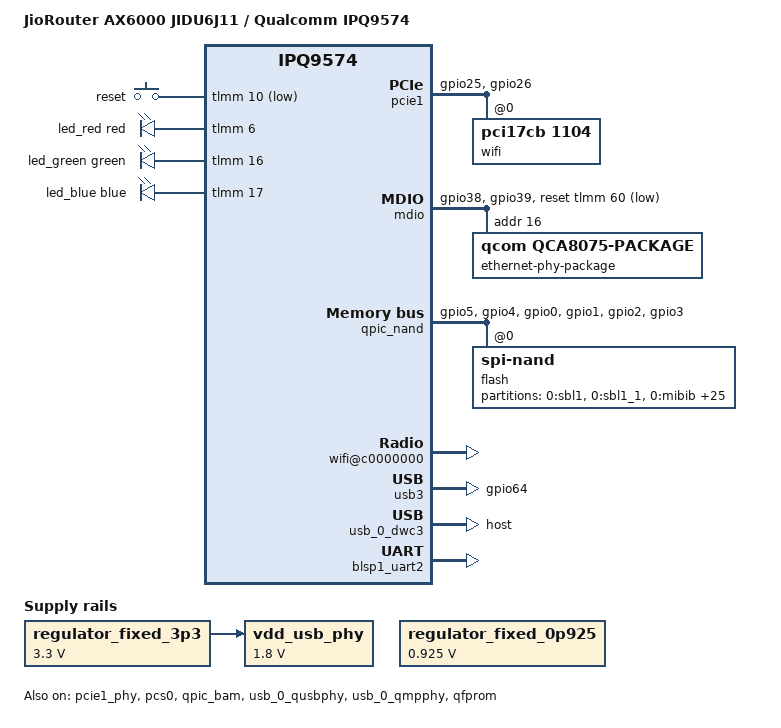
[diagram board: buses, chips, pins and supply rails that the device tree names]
// SPDX-License-Identifier: (GPL-2.0+ OR BSD-3-Clause)
/*
 * Jio AirFiber (JIDU6J11) - IPQ9574 AP-AL02-C1
 *
  */

/dts-v1/;

#include <dt-bindings/gpio/gpio.h>
#include <dt-bindings/input/input.h>
#include <dt-bindings/leds/common.h>
#include "ipq9574.dtsi"

#include <dt-bindings/clock/qcom,qca8k-nsscc.h>
#include <dt-bindings/net/qcom,qca808x.h>
#include <dt-bindings/reset/qcom,qca8k-nsscc.h>

/ {
	model = "JioRouter AX6000 JIDU6J11 / Qualcomm IPQ9574";
	compatible = "jiorouter,ax6000-jidu6j11", "qcom,ipq9574";

	aliases {
		serial0 = &blsp1_uart2;
		pci0 = &pcie0;
		pci1 = &pcie1;
		pci2 = &pcie2;
		pci3 = &pcie3;
	};

	chosen {
		stdout-path = "serial0:115200n8";
	};

	ipq9574_s4: s4 {
		regulator-min-microvolt = <1>;
		regulator-max-microvolt = <9>;
		regulator-always-on;
	};

	regulator_fixed_3p3: s3300 {
		compatible = "regulator-fixed";
		regulator-min-microvolt = <3300000>;
		regulator-max-microvolt = <3300000>;
		regulator-boot-on;
		regulator-always-on;
		regulator-name = "fixed_3p3";
	};

	regulator_fixed_0p925: s0925 {
		compatible = "regulator-fixed";
		regulator-min-microvolt = <925000>;
		regulator-max-microvolt = <925000>;
		regulator-boot-on;
		regulator-always-on;
		regulator-name = "fixed_0p925";
	};

	/*TODO: Remove*/
	vdd_usb_phy: vdd-usb-phy {
		compatible = "regulator-fixed";
		regulator-name = "vdd_usb_phy";
		regulator-min-microvolt = <1800000>;
		regulator-max-microvolt = <1800000>;
		vin-supply = <&regulator_fixed_3p3>;
	};

	gpio-keys {
		compatible = "gpio-keys";
		pinctrl-0 = <&gpio_keys_default>;
		pinctrl-names = "default";

		reset {
			label = "reset";
			linux,code = <KEY_RESTART>;
			gpios = <&tlmm 10 GPIO_ACTIVE_LOW>;
		};
	};

	leds {
		compatible = "gpio-leds";
		pinctrl-0 = <&gpio_leds_default>;
		pinctrl-names = "default";

		led_red: led-0 {
			color = <LED_COLOR_ID_RED>;
			function = LED_FUNCTION_STATUS;
			gpios = <&tlmm 6 GPIO_ACTIVE_HIGH>;
			default-state = "on";
			linux,default-trigger = "none";
		};

		led_green: led-1 {
			color = <LED_COLOR_ID_GREEN>;
			function = LED_FUNCTION_STATUS;
			gpios = <&tlmm 16 GPIO_ACTIVE_HIGH>;
			linux,default-trigger = "none";
		};

		led_blue: led-2 {
			color = <LED_COLOR_ID_BLUE>;
			function = LED_FUNCTION_STATUS;
			gpios = <&tlmm 17 GPIO_ACTIVE_HIGH>;
			linux,default-trigger = "none";
		};
	};
};

&pcie0 { status = "disabled"; };
&pcie0_phy { status = "disabled"; };
&pcie1_phy { status = "okay"; };
&pcie1 {
	pinctrl-0 = <&pcie_qcn9000_pins>;
	pinctrl-names = "default";
	perst-gpios = <&tlmm 26 GPIO_ACTIVE_LOW>;
	status = "okay";

	pcie1_rp {
		reg = <0 0 0 0 0>;
		wifi@0 {
			compatible = "pci17cb,1104";
			reg = <0 0 0 0 0>;
			qcom,board_id = <0xb7>;
		};
	};
};

&pcie2_phy { status = "disabled"; };
&pcie2 { status = "disabled"; };
&pcie3_phy { status = "disabled"; };
&pcie3 { status = "disabled"; };

/* ---- MDIO and Ethernet PHYs ---- */
&mdio {
	clock-frequency = <6250000>;
	pinctrl-0 = <&mdio_pins>;
	reset-gpios = <&tlmm 60 GPIO_ACTIVE_LOW>;
	pinctrl-names = "default";
	status = "okay";

	ethernet-phy-package@0 {
		compatible = "qcom,qca8075-package";
		#address-cells = <1>;
		#size-cells = <0>;
		reg = <0x10>;
		qcom,package-mode = "psgmii";

		phy0: ethernet-phy@10 { reg = <0x10>; };
		phy1: ethernet-phy@11 { reg = <0x11>; };
		phy2: ethernet-phy@12 { reg = <0x12>; };
		phy3: ethernet-phy@13 { reg = <0x13>; };
		phy5: ethernet-phy@14 { reg = <0x14>; };
	};
};

/* ---- Pinmux (add USB supply pin) ---- */
&tlmm {
	spi_0_pins: spi-0-state {
		pins = "gpio11", "gpio12", "gpio13", "gpio14";
		function = "blsp0_spi";
		drive-strength = <8>;
		bias-disable;
	};

	gpio_keys_default: gpio-keys-default-state {
		pins = "gpio10";
		function = "gpio";
		drive-strength = <8>;
		bias-pull-up;
	};

	gpio_leds_default: gpio-leds-default-state {
		pins = "gpio6", "gpio16", "gpio17";
		function = "gpio";
		drive-strength = <8>;
		bias-pull-up;
	};

	qpic_snand_default_state: qpic-snand-default-state {
		clock-pins {
			pins = "gpio5";
			function = "qspi_clk";
			drive-strength = <8>;
			bias-disable;
		};
		cs-pins {
			pins = "gpio4";
			function = "qspi_cs";
			drive-strength = <8>;
			bias-disable;
		};
		data-pins {
			pins = "gpio0", "gpio1", "gpio2", "gpio3";
			function = "qspi_data";
			drive-strength = <8>;
			bias-disable;
		};
	};

	pcie1_default: pcie1-default-state {
		clkreq-n-pins {
			pins = "gpio25";
			function = "pcie1_clk";
			drive-strength = <6>;
			bias-pull-up;
		};
		perst-n-pins {
			pins = "gpio26";
			function = "gpio";
			drive-strength = <8>;
			bias-pull-down;
			output-low;
		};
		wake-n-pins {
			pins = "gpio27";
			function = "pcie1_wake";
			drive-strength = <6>;
			bias-pull-up;
		};
	};

	pcie_qcn9000_pins: pcie-qcn9000-state {
		clkreq-n-pins {
			pins = "gpio25";
			function = "pcie1_clk";
			drive-strength = <6>;
			bias-pull-up;
		};
		perst-n-pins {
			pins = "gpio26";
			function = "gpio";
			drive-strength = <8>;
			bias-pull-up;
			output-low;      /* Hold card in reset until driver releases */
		};
	};


	pcie2_default: pcie2-default-state {
		clkreq-n-pins {
			pins = "gpio28";
			function = "pcie2_clk";
			drive-strength = <6>;
			bias-pull-up;
		};
		perst-n-pins {
			pins = "gpio29";
			function = "gpio";
			drive-strength = <8>;
			bias-pull-down;
			output-low;
		};
		wake-n-pins {
			pins = "gpio30";
			function = "pcie2_wake";
			drive-strength = <6>;
			bias-pull-up;
		};
	};

	pcie3_default: pcie3-default-state {
		clkreq-n-pins {
			pins = "gpio31";
			function = "pcie3_clk";
			drive-strength = <6>;
			bias-pull-up;
		};
		perst-n-pins {
			pins = "gpio32";
			function = "gpio";
			drive-strength = <8>;
			bias-pull-up;
		};
		wake-n-pins {
			pins = "gpio33";
			function = "pcie3_wake";
			drive-strength = <6>;
			bias-pull-up;
		};
	};

	/* USB supply pin – enables VBUS or PHY power */
	usb_supply_pin: usb-supply-pin {
		pins = "gpio64";
		function = "gpio";
		drive-strength = <8>;
		bias-pull-up;
		output-high;
	};

	mdio_pins: mdio-pins {
		mux_0 {
			pins = "gpio38";
			function = "mdc";
			drive-strength = <8>;
			bias-disable;
		};
		mux_1 {
			pins = "gpio39";
			function = "mdio";
			drive-strength = <8>;
			bias-pull-up;
		};
	};
};

/* ---- Ethernet MAC (PPE) configuration ---- */
&qcom_ppe {
	ethernet-ports {
		#address-cells = <1>;
		#size-cells = <0>;

		port@1 {
			reg = <1>;
			phy-mode = "psgmii";
			managed = "in-band-status";
			label = "wan";
			nvmem-cells = <&macaddr_wan>;
            nvmem-cell-names = "mac-address";

			phy-handle = <&phy0>;
			pcs-handle = <&pcs0_ch0>;
			clocks = <&nsscc NSS_CC_PORT1_MAC_CLK>,
				<&nsscc NSS_CC_PORT1_RX_CLK>,
				 <&nsscc NSS_CC_PORT1_TX_CLK>;
			clock-names = "mac", "rx", "tx";
			resets = <&nsscc PORT1_MAC_ARES>,
				 <&nsscc PORT1_RX_ARES>,
				 <&nsscc PORT1_TX_ARES>;
			reset-names = "mac", "rx", "tx";
		};

		port@2 {
			reg = <2>;
			phy-mode = "psgmii";
			managed = "in-band-status";
			label = "lan1";
			phy-handle = <&phy1>;
			pcs-handle = <&pcs0_ch1>;
			clocks = <&nsscc NSS_CC_PORT2_MAC_CLK>,
				 <&nsscc NSS_CC_PORT2_RX_CLK>,
				 <&nsscc NSS_CC_PORT2_TX_CLK>;
			clock-names = "mac", "rx", "tx";
			resets = <&nsscc PORT2_MAC_ARES>,
				 <&nsscc PORT2_RX_ARES>,
				 <&nsscc PORT2_TX_ARES>;
			reset-names = "mac", "rx", "tx";
		};

		port@3 {
			reg = <3>;
			phy-mode = "psgmii";
			managed = "in-band-status";
			label = "lan2";
			phy-handle = <&phy2>;
			pcs-handle = <&pcs0_ch2>;
			clocks = <&nsscc NSS_CC_PORT3_MAC_CLK>,
				 <&nsscc NSS_CC_PORT3_RX_CLK>,
				 <&nsscc NSS_CC_PORT3_TX_CLK>;
			clock-names = "mac", "rx", "tx";
			resets = <&nsscc PORT3_MAC_ARES>,
				 <&nsscc PORT3_RX_ARES>,
				 <&nsscc PORT3_TX_ARES>;
			reset-names = "mac", "rx", "tx";
		};

		port@4 {
			reg = <4>;
			phy-mode = "psgmii";
			managed = "in-band-status";
			label = "lan3";
			phy-handle = <&phy3>;
			pcs-handle = <&pcs0_ch3>;
			clocks = <&nsscc NSS_CC_PORT4_MAC_CLK>,
				 <&nsscc NSS_CC_PORT4_RX_CLK>,
				 <&nsscc NSS_CC_PORT4_TX_CLK>;
			clock-names = "mac", "rx", "tx";
			resets = <&nsscc PORT4_MAC_ARES>,
				 <&nsscc PORT4_RX_ARES>,
				 <&nsscc PORT4_TX_ARES>;
			reset-names = "mac", "rx", "tx";
		};

		port@5 { status = "disabled"; };

		port@6 {
			reg = <6>;
			status = "okay";
			phy-mode = "psgmii";
			managed = "in-band-status";
			label = "lan4";
			phy-handle = <&phy5>;
			pcs-handle = <&pcs0_ch4>;
			clocks = <&nsscc NSS_CC_PORT6_MAC_CLK>,
				 <&nsscc NSS_CC_PORT6_RX_CLK>,
				 <&nsscc NSS_CC_PORT6_TX_CLK>;
			clock-names = "mac", "rx", "tx";
			resets = <&nsscc PORT6_MAC_ARES>,
				 <&nsscc PORT6_RX_ARES>,
				 <&nsscc PORT6_TX_ARES>;
			reset-names = "mac", "rx", "tx";
		};
	};
};

/* Disable unused UNIPHY/PCS */
/* Disable unused UNIPHY/PCS */
&pcs1 { status = "disabled"; };
&pcs2 { status = "disabled"; };

/* Enable and configure PCS0 for all 5 ports */
&pcs0 {
	status = "okay";
	qcom,uniphy-mode = "psgmii";
};
/* ---- Serial NAND Flash ---- */
&qpic_bam { status = "okay"; };

&qpic_nand{
	pinctrl-0 = <&qpic_snand_default_state>;
	pinctrl-names = "default";
	status = "okay";

	flash@0 {
		compatible = "spi-nand";
		reg = <0>;
		#address-cells = <1>;
		#size-cells = <1>;
		nand-ecc-engine = <&qpic_nand>;

		partitions {
			compatible = "fixed-partitions";
			#address-cells = <1>;
			#size-cells = <1>;

			partition@00000000 {
				label = "0:sbl1";
				reg = <0x00000000 0x00180000>;
				read-only;
			};
			partition@00180000 {
				label = "0:sbl1_1";
				reg = <0x00180000 0x00180000>;
				read-only;
			};
			partition@00300000 {
				label = "0:mibib";
				reg = <0x00300000 0x00100000>;
				read-only;
			};
			partition@00400000 {
				label = "0:bootconfig";
				reg = <0x00400000 0x00080000>;
				read-only;
			};
			partition@00480000 {
				label = "0:bootconfig1";
				reg = <0x00480000 0x00080000>;
				read-only;
			};
			partition@00500000 {
				label = "0:qsee";
				reg = <0x00500000 0x00380000>;
				read-only;
			};
			partition@00880000 {
				label = "0:qsee_1";
				reg = <0x00880000 0x00380000>;
				read-only;
			};
			partition@00c00000 {
				label = "0:devcfg_1";
				reg = <0x00c00000 0x00080000>;
				read-only;
			};
			partition@00c80000 {
				label = "0:devcfg";
				reg = <0x00c80000 0x00080000>;
				read-only;
			};
			partition@00d00000 {
				label = "0:apdp_1";
				reg = <0x00d00000 0x00080000>;
				read-only;
			};
			partition@00d80000 {
				label = "0:apdp";
				reg = <0x00d80000 0x00080000>;
				read-only;
			};
			partition@00e00000 {
				label = "0:tme";
				reg = <0x00e00000 0x00080000>;
				read-only;
			};
			partition@00e80000 {
				label = "0:tme_1";
				reg = <0x00e80000 0x00080000>;
				read-only;
			};
			partition@00f00000 {
				label = "0:rpm_1";
				reg = <0x00f00000 0x00080000>;
				read-only;
			};
			partition@00f80000 {
				label = "0:rpm";
				reg = <0x00f80000 0x00080000>;
				read-only;
			};
			partition@01000000 {
				label = "0:cdt_1";
				reg = <0x01000000 0x00080000>;
				read-only;
			};
			partition@01080000 {
				label = "0:cdt";
				reg = <0x01080000 0x00080000>;
				read-only;
			};
			partition@01100000 {
				label = "0:appsblenv";
				reg = <0x01100000 0x00080000>;
			};
			partition@01180000 {
				label = "0:appsbl_1";
				reg = <0x01180000 0x00180000>;
				read-only;
			};
			partition@01300000 {
				label = "0:appsbl";
				reg = <0x01300000 0x00180000>;
				read-only;
			};

			art: partition@01480000 {
				compatible = "nvmem-cells";
				label = "0:art";
				reg = <0x01480000 0x00100000>;
				read-only;

				macaddr_wan: mac-address@0 {
					reg = <0x0 0x6>;
				};
			};

			partition@01580000 {
				label = "0:ethphyfw";
				reg = <0x01580000 0x00100000>;
				read-only;
			};
			partition@01680000 {
				label = "0:training";
				reg = <0x01680000 0x00080000>;
				read-only;
			};
			partition@01700000 {
				label = "firmware";
				reg = <0x01700000 0x0a000000>;
				compatible = "denx,fit";
			};
			partition@0b700000 {
				label = "customfs";
				reg = <0x0b700000 0x04100000>;
				read-only;
			};
			partition@0f800000 {
				label = "jio-reserved";
				reg = <0x0f800000 0x00200000>;
				read-only;
			};
			partition@0fa00000 {
				label = "mfg";
				reg = <0x0fa00000 0x00200000>;
				read-only;
			};
			partition@0fc00000 {
				label = "0:bdf";
				reg = <0x0fc00000 0x00200000>;
				read-only;
			};
		};
	};
};

/* ---- Integrated 2.4 GHz WiFi (disabled – needs remoteproc) ---- */
&soc {
	wifi@c0000000 {
		compatible = "qcom,cnss-qca9574", "qcom,ipq9574-wifi";
		reg = <0xc0000000 0x1000000>;
		qcom,board_id = <0x30>;
		qcom,tgt-mem-mode = <0x02>;
		status = "okay";
		/* The driver expects a remote processor handle; this is usually
		   provided by the "qcom,rproc" property in the stock DTS. If your
		   kernel requires it, you may need to add the appropriate phandle
		   to the WCSS remoteproc. For now, try without. */
	};
};

/* ---- USB – full stock configuration ---- */
&usb3 {
	status = "okay";
	pinctrl-0 = <&usb_supply_pin>;
	pinctrl-names = "default";
};

&usb_0_dwc3 {
	dr_mode = "host";
	status = "okay";
	snps,quirk-ref-clock-adjustment = <0xa87f0>;
	snps,quirk-ref-clock-period = <0x29>;
	snps,dis_ep_cache_eviction;
	snps,dis_u2_susphy_quirk;
	snps,dis_u3_susphy_quirk;
};

&usb_0_qusbphy {
	vdd-supply = <&vdd_usb_phy>;
    vdda-pll-supply = <&vdd_usb_phy>;
    vdda-phy-dpdm-supply = <&vdd_usb_phy>;
	status = "okay";
};

&usb_0_qmpphy {
	vdda-phy-supply = <&vdd_usb_phy>;
    vdda-pll-supply = <&vdd_usb_phy>;
	status = "okay";
};

/* ---- Serial & misc (unchanged) ---- */
&blsp1_spi0 {
	status = "disabled";
};

&blsp1_uart2 {
	pinctrl-0 = <&uart2_pins>;
	pinctrl-names = "default";
	status = "okay";
};

&rpm_requests {
	regulators {
		compatible = "qcom,rpm-mp5496-regulators";

		ipq9574_s1: s1 {
			regulator-min-microvolt = <725000>;
			regulator-max-microvolt = <1075000>;
		};

		mp5496_l2: l2 {
			regulator-min-microvolt = <1800000>;
			regulator-max-microvolt = <1800000>;
			regulator-always-on;
			regulator-boot-on;
		};

		mp5496_l5: l5 {
			regulator-min-microvolt = <1800000>;
			regulator-max-microvolt = <1800000>;
			regulator-always-on;
			regulator-boot-on;
		};
	};
};

&sleep_clk { 
	clock-frequency = <32000>;
};

/* ---- Clock configuration (unchanged) ---- */
&ref_48mhz_clk {
	clock-div = <1>;
	clock-mult = <1>;
};

&xo_board_clk {
	clock-div = <2>;
	clock-mult = <1>;
};

&xo_clk {
	clock-frequency = <48000000>;
};

&qfprom {
	status = "okay";
};

&rpm {
    status = "disabled";
};
